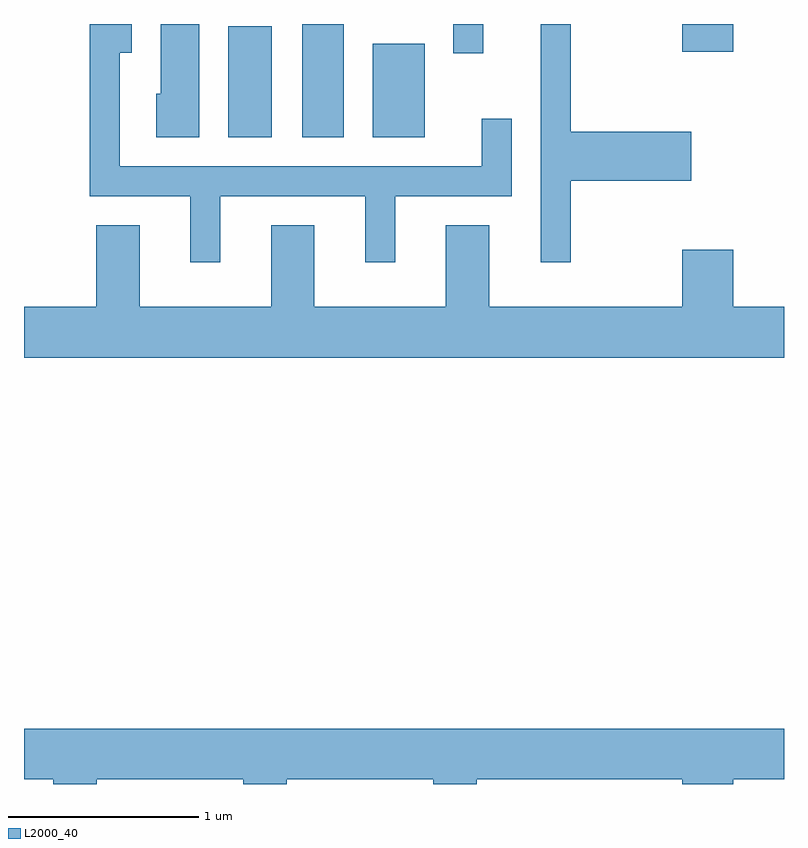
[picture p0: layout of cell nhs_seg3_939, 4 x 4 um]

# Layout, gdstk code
import gdstk
lib = gdstk.Library(unit=1e-6, precision=1e-09)
def R(c, l, rs):  # rectangles x0, y0, x1, y1
    for r in rs: c.add(gdstk.rectangle(r[:2], r[2:], *l))
def P(c, l, *ps):  # polygons
    for p in ps: c.add(gdstk.Polygon(p, *l))
L2000_40 = (2000, 40)

nhs_seg3_939 = lib.new_cell('nhs_seg3_939')
R(nhs_seg3_939, L2000_40, [(212.686,1229.296,212.914,1229.879), (213.076,1229.296,213.294,1229.892), (213.446,1229.296,213.719,1229.789), (213.871,1229.738,214.029,1229.892), (215.076,1229.746,215.344,1229.892)])
P(nhs_seg3_939, L2000_40, [(212.534,1229.892),(212.331,1229.892),(212.331,1229.524),(212.306,1229.524),(212.306,1229.296),(212.534,1229.296)],
  [(214.489,1229.066),(215.124,1229.066),(215.124,1229.324),(214.489,1229.324),(214.489,1229.892),(214.331,1229.892),(214.331,1228.638),(214.489,1228.638)],
  [(212.644,1228.986),(213.406,1228.986),(213.406,1228.638),(213.564,1228.638),(213.564,1228.986),(214.179,1228.986),(214.179,1229.393),(214.021,1229.393),(214.021,1229.144),(212.114,1229.144),(212.114,1229.741),(212.179,1229.741),(212.179,1229.892),(211.956,1229.892),(211.956,1228.986),(212.486,1228.986),(212.486,1228.638),(212.644,1228.638)],
  [(215.611,1228.404),(215.344,1228.404),(215.344,1228.704),(215.076,1228.704),(215.076,1228.404),(214.059,1228.404),(214.059,1228.834),(213.831,1228.834),(213.831,1228.404),(213.139,1228.404),(213.139,1228.834),(212.911,1228.834),(212.911,1228.404),(212.219,1228.404),(212.219,1228.834),(211.991,1228.834),(211.991,1228.404),(211.611,1228.404),(211.611,1228.136),(215.611,1228.136)],
  [(211.994,1225.916),(212.766,1225.916),(212.766,1225.892),(212.994,1225.892),(212.994,1225.916),(213.766,1225.916),(213.766,1225.892),(213.994,1225.892),(213.994,1225.916),(215.076,1225.916),(215.076,1225.892),(215.344,1225.892),(215.344,1225.916),(215.611,1225.916),(215.611,1226.184),(211.611,1226.184),(211.611,1225.916),(211.766,1225.916),(211.766,1225.892),(211.994,1225.892)])

lib.write_gds('nhs_seg3_939.gds')
